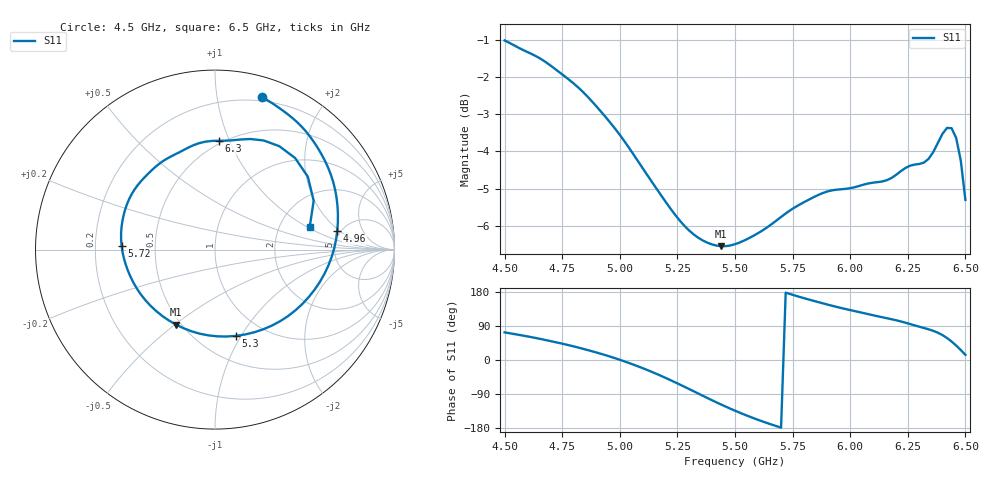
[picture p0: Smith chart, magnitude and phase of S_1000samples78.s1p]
! TOUCHSTONE file generated by CST MICROWAVE STUDIO
! Date and time: Wed Oct 26 22:11:28 2022
! Project name: L.cst
! Parameters = {Di=1.27; Epsilon_r=1.56; InnerDiameter=1.27; Length=2; Lf=10; Lg=60; OuterConductorThickness=0.2921; OuterDiameter=3.6; Wf=3; Wp=41.2; de=1.5; df=6.8; g=0.8; gx=3.55313; gy=1.82666; h=2.34; hf=1.524; px=13.0325; py=12.3819; w=9.7; wx=9.47935; wy=10.5553}
! Header version: 2018
! Port assignment regex: !\s*Touchstone port\s*([0-9]+)\s*=\s*(CST MWS port|CST DS port)\s*([0-9]+|Zmin|Zmax)\s*\(\"(.*)\"\)(\s*mode\s*([0-9]+))?.*
! Touchstone port assignment:
! Touchstone port 1 = CST MWS port 1 ("")
# GHz S DB R 50
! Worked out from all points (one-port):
!   101 points, 4.5 GHz to 6.5 GHz, reference 50 ohm
!   lowest |S11| = -6.5 dB at 5.44 GHz (marker M1), VSWR 2.78, Z = 23.5 - j25.2 ohm
!   |S11| at or under -10 dB: nowhere
!   S11 on the Smith chart (normalised r, x): 4.5 GHz: 0.17, +1.34; 4.96 GHz: 4.68, +1.83; 5.3 GHz: 0.75, -0.95; 5.72 GHz: 0.32, +0.02; 6.3 GHz: 0.48, +0.92; 6.5 GHz: 2.95, +1.07
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4.5  -1.03 72.9
4.64  -1.46 57.5
4.76  -1.98 41.7
4.86  -2.53 26.3
4.96  -3.24 8.6
5  -3.56 0.6
5.12  -4.64 -26.6
5.2  -5.36 -47.6
5.26  -5.85 -64.6
5.3  -6.11 -76.4
5.36  -6.39 -94.3
5.44  -6.54 -117.6
5.5  -6.49 -133.7
5.6  -6.19 -157.9
5.72  -5.66 177.7
5.76  -5.50 170.2
5.88  -5.12 149.8
6  -4.99 131.8
6.18  -4.71 107.5
6.26  -4.38 94.9
6.3  -4.34 87.9
6.36  -4.02 77.1
6.4  -3.53 65.9
6.42  -3.37 58.1
6.44  -3.38 48.8
6.46  -3.64 38.1
6.48  -4.25 26.3
6.5  -5.30 13.6
